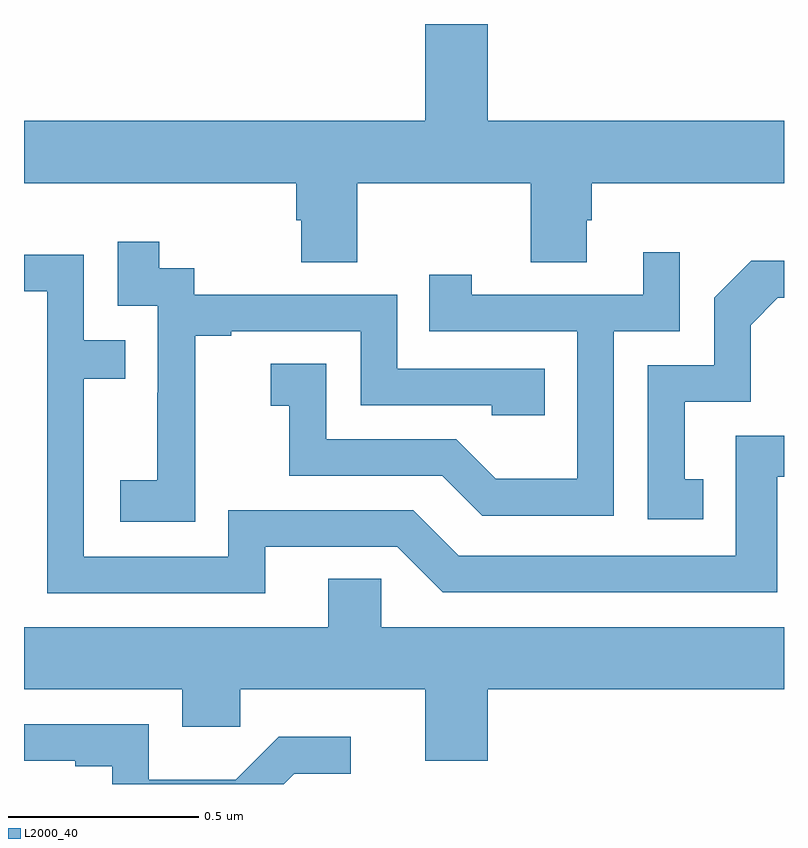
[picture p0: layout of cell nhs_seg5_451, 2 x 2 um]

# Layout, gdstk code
import gdstk
lib = gdstk.Library(unit=1e-6, precision=1e-09)
def P(c, l, *ps):  # polygons
    for p in ps: c.add(gdstk.Polygon(p, *l))
L2000_40 = (2000, 40)

nhs_seg5_451 = lib.new_cell('nhs_seg5_451')
P(nhs_seg5_451, L2000_40, [(116.877,903.38),(117.334,903.38),(117.334,903.172),(117.481,903.172),(117.481,903.282),(117.494,903.282),(117.494,903.38),(118,903.38),(118,903.544),(117.22,903.544),(117.22,903.799),(117.056,903.799),(117.056,903.544),(116,903.544),(116,903.38),(116.717,903.38),(116.717,903.282),(116.729,903.282),(116.729,903.172),(116.877,903.172)],
  [(116.451,902.695),(116.45,902.695),(116.45,902.979),(116.545,902.979),(116.545,902.991),(116.886,902.991),(116.886,902.796),(117.231,902.796),(117.231,902.769),(117.371,902.769),(117.371,902.892),(116.982,902.892),(116.982,903.087),(116.448,903.087),(116.448,903.156),(116.356,903.156),(116.356,903.226),(116.247,903.226),(116.247,903.057),(116.352,903.057),(116.352,902.828),(116.351,902.828),(116.351,902.599),(116.253,902.599),(116.253,902.489),(116.451,902.489)],
  [(117.552,902.991),(117.726,902.991),(117.726,903.199),(117.629,903.199),(117.629,903.087),(117.178,903.087),(117.178,903.139),(117.067,903.139),(117.067,902.991),(117.456,902.991),(117.456,902.602),(117.242,902.602),(117.138,902.706),(116.796,902.706),(116.796,902.905),(116.649,902.905),(116.649,902.795),(116.698,902.795),(116.698,902.61),(117.101,902.61),(117.206,902.505),(117.552,902.505)],
  [(116.635,902.424),(116.982,902.424),(117.102,902.304),(117.982,902.304),(117.982,902.607),(118,902.607),(118,902.715),(117.873,902.715),(117.873,902.4),(117.144,902.4),(117.024,902.52),(116.538,902.52),(116.538,902.397),(116.157,902.397),(116.157,902.866),(116.267,902.866),(116.267,902.967),(116.157,902.967),(116.157,903.192),(116,903.192),(116,903.096),(116.061,903.096),(116.061,902.301),(116.635,902.301)],
  [(117.788,902.601),(117.739,902.601),(117.739,902.805),(117.912,902.805),(117.912,903.006),(117.984,903.078),(118,903.078),(118,903.176),(117.914,903.176),(117.816,903.078),(117.816,902.901),(117.642,902.901),(117.642,902.496),(117.788,902.496)],
  [(117.22,902.048),(118,902.048),(118,902.212),(116.94,902.212),(116.94,902.339),(116.801,902.339),(116.801,902.212),(116,902.212),(116,902.048),(116.417,902.048),(116.417,901.95),(116.569,901.95),(116.569,902.048),(117.056,902.048),(117.056,901.86),(117.22,901.86)],
  [(116.711,901.826),(116.86,901.826),(116.86,901.923),(116.67,901.923),(116.557,901.81),(116.328,901.81),(116.328,901.956),(116,901.956),(116,901.86),(116.135,901.86),(116.135,901.846),(116.232,901.846),(116.232,901.799),(116.684,901.799)])

lib.write_gds('nhs_seg5_451.gds')
